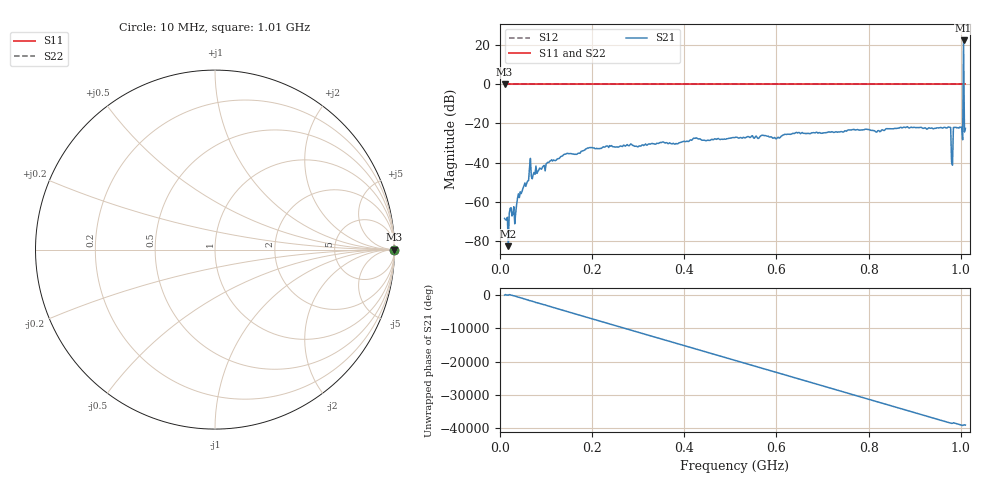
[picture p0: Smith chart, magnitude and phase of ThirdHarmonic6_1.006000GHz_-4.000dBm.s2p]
! 8/16/2025 8:12:00 AM
! C:\ANRITSUVNA\TEMP\TEMP.S2P
! CHANNEL.1
! TR.MEASUREMENT
! RAW.DATA
! RF.CORRECTION.OFF
! AVERAGING.OFF
! IF.BANDWIDTH: 5KHZ
! SWEEPTYPE:  FREQ.SWEEP(Linear)
! Reference Plane Port Info
! PORT:  PORT1  PORT2
! DISTANCE:  0  m  0  m
! TIME:  0  s  0  s
! PHASE.OFFSET:  0  deg.  0  deg.
! LOSS:  0  dB  0  dB
! REF.LOSS:  0  dB  0  dB
! REF.FREQ:  0  Hz  0  Hz
! Power Info
! POWER:  -20  dBm  -20  dBm
! EFF.POWER:  -20  dBm  -20  dBm
! SOURCE.ATTEN:  0  dB  0  dB
! TEST.ATTEN:  0  dB  0  dB
# GHZ S RI R 50.0
! FREQ.GHZ  S11RE  S11IM  S21RE  S21IM  S12RE  S12IM  S22RE  S22IM
!; PortSelection: Port_12
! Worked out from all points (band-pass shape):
!   501 points, 10 MHz to 1.01 GHz, reference 50 ohm
!   highest |S21| = 22.52 dB at 1.006 GHz (marker M1); lowest = -82.8 dB at 18 MHz (marker M2)
!   |S21| within 3 dB of the highest: 1.005882 GHz to 1.006128 GHz (246 kHz wide, 0.0245 % of centre)
!   lowest |S11| = 0.0 dB at 10 MHz (marker M3)
!   |S11| at or under -10 dB: nowhere
!   |S22| runs from 0.0 to 0.0 dB; largest |S21 - S12| = 14
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0.01  1 0  0.000237 -0.000286  1 0  1 0
0.018  1 0  -3.1e-06 -7.23e-05  1 0  1 0
0.026  1 0  -0.000166 -0.000398  1 0  1 0
0.03  1 0  0.000185 0.000716  1 0  1 0
0.04  1 0  0.00132 0.000865  1 0  1 0
0.064  1 0  0.00191 0.00693  1 0  1 0
0.072  1 0  -0.0049 0.000703  1 0  1 0
0.142  1 0  -0.015 -0.0067  1 0  1 0
0.178  1 0  -0.0191 -0.00509  1 0  1 0
0.344  1 0  0.0307 -0.00414  1 0  1 0
0.51  1 0  -0.0425 0.0109  1 0  1 0
0.678  1 0  -0.0139 -0.0558  1 0  1 0
0.844  1 0  0.038 0.0627  1 0  1 0
0.974  1 0  -0.0586 -0.0561  1 0  1 0
0.978  1 0  0.0362 0.0699  1 0  1 0
0.982  1 0  0.0082 0.00253  1 0  1 0
0.984  1 0  -0.0791 0.000481  1 0  1 0
0.988  1 0  0.0751 0.0264  1 0  1 0
1  1 0  -0.0188 -0.077  1 0  1 0
1.002  1 0  -0.0809 0.00413  1 0  1 0
1.006  1 0  -13.19 -2.142  1 0  1 0
1.01  1 0  -0.0648 -0.0381  1 0  1 0
